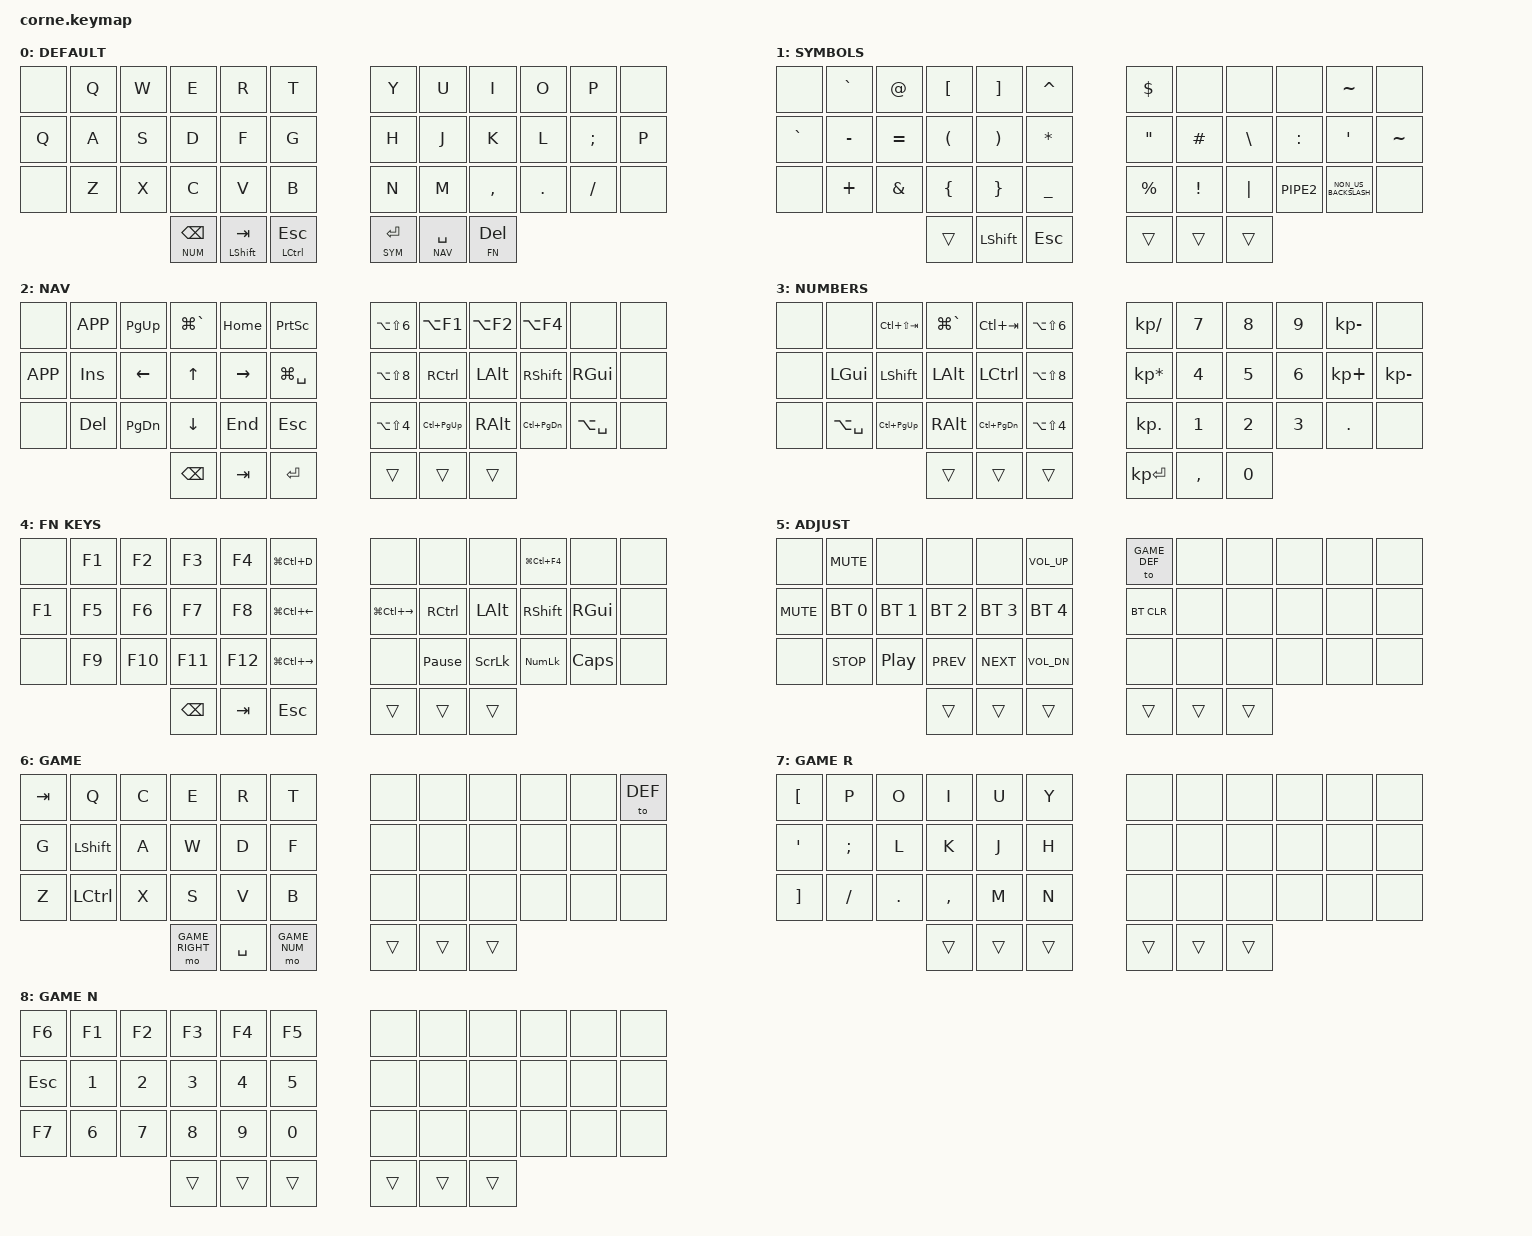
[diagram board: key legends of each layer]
/*
 * Copyright (c) 2020 The ZMK Contributors
 *
 * SPDX-License-Identifier: MIT
 */

#include <behaviors.dtsi>
#include <dt-bindings/zmk/keys.h>
#include <dt-bindings/zmk/bt.h>

#define DEF     0
#define SYM     1
#define NAV     2
#define NUM     3
#define FN      4
#define ADJ     5
#define GAME_DEF        6
#define GAME_RIGHT      7
#define GAME_NUM        8

&mt {
    flavor = "hold-preferred";
    quick-tap-ms = <200>;
};

&lt {
    flavor = "hold-preferred";
    quick-tap-ms = <200>;
};

/ {
    conditional_layers {
        compatible = "zmk,conditional-layers";

        tri_layer {
            if-layers = <SYM NAV>;
            then-layer = <ADJ>;
        };
    };

    combos {
        compatible = "zmk,combos";

        combo_win_l {
            timeout-ms = <50>;
            key-positions = <15 16>;
            bindings = <&kp LGUI>;
            layers = <0 1>;
        };

        combo_win_r {
            timeout-ms = <50>;
            key-positions = <19 20>;
            bindings = <&kp RGUI>;
            layers = <0 1>;
        };

        combo_alt_l {
            bindings = <&kp LEFT_ALT>;
            key-positions = <16 13>;
            timeout-ms = <50>;
            layers = <0 1>;
        };

        combo_ralt {
            bindings = <&kp RALT>;
            key-positions = <19 22>;
            timeout-ms = <50>;
            layers = <0 1>;
        };

        combo_shift_l {
            bindings = <&kp LEFT_SHIFT>;
            key-positions = <16 14>;
            timeout-ms = <50>;
            layers = <0 1>;
        };

        combo_shift_r {
            bindings = <&kp RIGHT_SHIFT>;
            key-positions = <19 21>;
            timeout-ms = <50>;
            layers = <0 1>;
        };
    };

    keymap {
        compatible = "zmk,keymap";

        default_layer {
            label = " DEFAULT";

            // -----------------------------------------------------------------------------------------
            // | LGUI/` |  Q  |  W  |  E  |  R  |  T  |   |  Y  |  U   |  I  |  O  |  P  |  [   |
            // | ALT    |  A  |  S  |  D  |  F  |  G  |   |  H  |  J   |  K  |  L  |  ;  |  '   |
            // | SHFT   |  Z  |  X  |  C  |  V  |  B  |   |  N  |  M   |  ,  |  .  |  /  |  ]   |
            //                | BSP/SHFT | TAB/NUM | ESC/CTRL |     | ENT/SYM | SPACE/NAV  | DEL/FN |

            bindings = <
&none  &kp Q  &kp W         &kp E          &kp R          &kp T          &kp Y          &kp U       &kp I    &kp O     &kp P  &none
&kp Q  &kp A  &kp S         &kp D          &kp F          &kp G          &kp H          &kp J       &kp K    &kp L  &kp SEMI  &kp P
&none  &kp Z  &kp X         &kp C          &kp V          &kp B          &kp N          &kp M   &kp COMMA  &kp DOT  &kp FSLH  &none
                     &lt NUM BSPC  &mt LSHFT TAB  &mt LCTRL ESC    &lt SYM RET  &lt NAV SPACE  &lt FN DEL
            >;
        };

        symbol_layer {
            label = " SYMBOLS";
            bindings = <
    &none  &kp GRAVE     &kp AT  &kp LBKT   &kp RBKT  &kp CARET             &kp DLLR     &none          &none      &none             &kp TILDE      &none
&kp GRAVE  &kp MINUS  &kp EQUAL  &kp LPAR   &kp RPAR   &kp STAR    &kp DOUBLE_QUOTES  &kp HASH  &kp BACKSLASH  &kp COLON        &kp APOSTROPHE  &kp TILDE
    &none   &kp PLUS   &kp AMPS  &kp LBRC   &kp RBRC  &kp UNDER          &kp PERCENT  &kp EXCL       &kp PIPE  &kp PIPE2  &kp NON_US_BACKSLASH      &none
                                   &trans  &kp LSHFT    &kp ESC               &trans    &trans         &trans
            >;
        };

        navigation_layer {
            label = " NAV";
            bindings = <
    &none  &kp K_APP  &kp PG_UP  &kp LG(GRAVE)   &kp HOME      &kp PSCRN    &kp LA(LS(N6))     &kp LA(F1)  &kp LA(F2)     &kp LA(F4)          &none  &none
&kp K_APP    &kp INS   &kp LEFT         &kp UP  &kp RIGHT  &kp LG(SPACE)    &kp LA(LS(N8))      &kp RCTRL    &kp LALT      &kp RSHFT       &kp RGUI  &none
    &none    &kp DEL  &kp PG_DN       &kp DOWN    &kp END        &kp ESC    &kp LA(LS(N4))  &kp LC(PG_UP)    &kp RALT  &kp LC(PG_DN)  &kp LA(SPACE)  &none
                                      &kp BSPC    &kp TAB        &kp RET            &trans         &trans      &trans
            >;
        };

        number_layer {
            label = " NUMBERS";
            bindings = <
&none          &none  &kp LC(LS(TAB))  &kp LG(GRAVE)    &kp LC(TAB)  &kp LA(LS(N6))       &kp KP_SLASH     &kp N7  &kp N8  &kp N9  &kp KP_MINUS         &none
&none       &kp LGUI        &kp LSHFT       &kp LALT      &kp LCTRL  &kp LA(LS(N8))    &kp KP_MULTIPLY     &kp N4  &kp N5  &kp N6   &kp KP_PLUS  &kp KP_MINUS
&none  &kp LA(SPACE)    &kp LC(PG_UP)       &kp RALT  &kp LC(PG_DN)  &kp LA(LS(N4))         &kp KP_DOT     &kp N1  &kp N2  &kp N3       &kp DOT         &none
                                              &trans         &trans          &trans       &kp KP_ENTER  &kp COMMA  &kp N0
            >;
        };

        fn_layer {
            label = " FN KEYS";
            bindings = <
 &none  &kp F1   &kp F2    &kp F3   &kp F4      &kp LG(LC(D))                &none            &none     &none  &kp LG(LC(F4))     &none  &none
&kp F1  &kp F5   &kp F6    &kp F7   &kp F8   &kp LG(LC(LEFT))    &kp LG(LC(RIGHT))        &kp RCTRL  &kp LALT       &kp RSHFT  &kp RGUI  &none
 &none  &kp F9  &kp F10   &kp F11  &kp F12  &kp LG(LC(RIGHT))                &none  &kp PAUSE_BREAK  &kp SLCK      &kp KP_NUM  &kp CAPS  &none
                         &kp BSPC  &kp TAB            &kp ESC               &trans           &trans    &trans
            >;
        };

        adjust_layer {
            label = " ADJUST";
            bindings = <
     &none    &kp C_MUTE         &none         &none         &none  &kp C_VOL_UP    &to GAME_DEF   &none   &none  &none  &none  &none
&kp C_MUTE  &bt BT_SEL 0  &bt BT_SEL 1  &bt BT_SEL 2  &bt BT_SEL 3  &bt BT_SEL 4      &bt BT_CLR   &none   &none  &none  &none  &none
     &none    &kp C_STOP      &kp C_PP    &kp C_PREV    &kp C_NEXT  &kp C_VOL_DN           &none   &none   &none  &none  &none  &none
                                              &trans        &trans        &trans          &trans  &trans  &trans
            >;
        };

        // GAME layers

        game_default_layer {
            label = " GAME";
            bindings = <
&kp TAB      &kp Q  &kp C           &kp E      &kp R         &kp T     &none   &none   &none  &none  &none  &to DEF
  &kp G  &kp LSHFT  &kp A           &kp W      &kp D         &kp F     &none   &none   &none  &none  &none    &none
  &kp Z  &kp LCTRL  &kp X           &kp S      &kp V         &kp B     &none   &none   &none  &none  &none    &none
                           &mo GAME_RIGHT  &kp SPACE  &mo GAME_NUM    &trans  &trans  &trans
            >;
        };

        game_right_layer {
            label = " GAME R";
            bindings = <
&kp LBKT     &kp P    &kp O      &kp I   &kp U   &kp Y     &none   &none   &none  &none  &none  &none
 &kp SQT  &kp SEMI    &kp L      &kp K   &kp J   &kp H     &none   &none   &none  &none  &none  &none
&kp RBKT  &kp FSLH  &kp DOT  &kp COMMA   &kp M   &kp N     &none   &none   &none  &none  &none  &none
                                &trans  &trans  &trans    &trans  &trans  &trans
            >;
        };

        game_num_layer {
            label = " GAME N";
            bindings = <
 &kp F6  &kp F1  &kp F2  &kp F3  &kp F4  &kp F5     &none   &none   &none  &none  &none  &none
&kp ESC  &kp N1  &kp N2  &kp N3  &kp N4  &kp N5     &none   &none   &none  &none  &none  &none
 &kp F7  &kp N6  &kp N7  &kp N8  &kp N9  &kp N0     &none   &none   &none  &none  &none  &none
                         &trans  &trans  &trans    &trans  &trans  &trans
            >;
        };
    };
};
